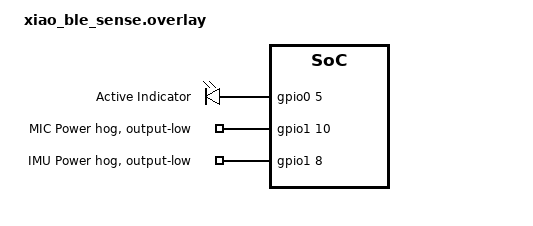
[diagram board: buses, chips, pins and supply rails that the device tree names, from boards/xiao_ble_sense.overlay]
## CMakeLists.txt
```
# SPDX-License-Identifier: MIT
cmake_minimum_required(VERSION 3.20)
find_package(Zephyr REQUIRED HINTS $ENV{ZEPHYR_BASE})
project(xiao_power_tests)
target_sources(app PRIVATE src/main.c)
```

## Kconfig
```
mainmenu "XIAO Power Baseline Test"

source "Kconfig.zephyr"

config APP_SYSTEM_OFF
	bool "Enter System OFF instead of System ON idle"
	default n
	select POWEROFF
	help
	  If enabled, the application calls sys_poweroff() after the boot
	  marker pulse instead of k_sleep(K_FOREVER).  System OFF turns
	  off CPU, RAM (except retained), all peripherals and all clocks.
	  Whatever current remains is purely hardware (LEDs, BQ25101,
	  external pull-ups, board leakage).
```

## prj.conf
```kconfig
# ── Minimal baseline: NO BT, NO sensors, NO logging ────────────────────────
# Goal: lowest possible idle current on XIAO nRF52840 (Sense).
#
# The application calls k_sleep(K_FOREVER); the kernel idle thread then
# enters WFI.  TICKLESS_KERNEL stops SysTick during sleep.
CONFIG_GPIO=y
CONFIG_TICKLESS_KERNEL=y
CONFIG_MAIN_STACK_SIZE=1024
CONFIG_IDLE_STACK_SIZE=512
```

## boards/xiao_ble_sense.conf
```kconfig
# Seeed XIAO nRF52840 Sense — power baseline
#
# ── Mandatory on XIAO: no external 32.768 kHz crystal ──────────────────────
CONFIG_CLOCK_CONTROL_NRF_K32SRC_RC=y

# ── Disable everything that holds HFCLK ─────────────────────────────────────
# USB_DEVICE_STACK : ~1.1 mA   (SOF IRQ every 1 ms, keeps HFXO alive)
# SERIAL/UARTE0    : ~1.0 mA   (UARTE0 keeps HFINT running once initialised)
# CONSOLE/LOG      : pulls in serial backends
CONFIG_USB_DEVICE_STACK=n
CONFIG_USB_CDC_ACM=n
CONFIG_SERIAL=n
CONFIG_CONSOLE=n
CONFIG_UART_CONSOLE=n
CONFIG_LOG=n

# ── Disable sensor drivers pulled in by board defconfig ─────────────────────
# Board defconfig enables LSM6DSL on i2c0; we disabled i2c0 in the overlay,
# so the driver fails to find its bus.  Disable it explicitly.
CONFIG_SENSOR=n
CONFIG_LSM6DSL=n

# ── NFCT off (frees P0.09/P0.10, saves ~600 µA) ────────────────────────────
# Without this, the nRF52840 NFCT peripheral is active by default (UICR.NFCPINS
# = NFC).  It draws ~600 µA continuously even when no NFC field is present.
# Setting CONFIG_NFCT_PINS_AS_GPIOS=y patches UICR on first boot.
# IMPORTANT: After flashing the first time, perform a full power cycle
# (unplug USB AND battery) for the UICR write to take effect.
CONFIG_NFCT_PINS_AS_GPIOS=y
```

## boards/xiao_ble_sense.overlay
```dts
/* SPDX-License-Identifier: MIT */
/*
 * XIAO nRF52840 Sense — power baseline overlay
 *
 * Strategy: disable every onboard peripheral that the bare board's defconfig
 * leaves enabled, and explicitly power-gate every active-high VCC line so we
 * see only the SoC + LDO + LEDs + the BQ25101 charger quiescent current.
 *
 * Toggle individual nodes / hogs to characterise each peripheral's
 * contribution to the idle floor.
 */

/ {
	/* D5 (P0.05) — boot-done marker on the PPK2 logic channel. */
	active_ind: active_indicator {
		compatible = "gpio-leds";
		active0: active_0 {
			gpios = <&gpio0 5 GPIO_ACTIVE_HIGH>;
			label = "Active Indicator";
		};
	};

	aliases {
		active-indicator = &active0;
	};
};

/* ── Disable I2C buses (frees SDA/SCL pull-ups too) ────────────────────── */
&i2c0 { status = "disabled"; };
&i2c1 { status = "disabled"; };

/* ── Disable QSPI peripheral ────────────────────────────────────────────────────
 * The Zephyr nordic_qspi-nor driver is NOT used.  Deep Power-Down (0xB9)
 * is sent manually via GPIO bit-bang in main.c before sys_poweroff().
 * NOTE: P0.25 = QSPI_CSN (active-LOW chip-select) — do NOT hog it LOW!
 * Hogging P0.25 LOW permanently asserts chip-select → ~600 µA drain.
 */
&qspi { status = "disabled"; };

/* ── Disable PWM (board defconfig leaves PWM0 enabled for LED driver) ──── */
&pwm0 { status = "disabled"; };

/* ── Disable SPI ──────────────────────────────────────────────────────── */
&spi2 { status = "disabled"; };

/* ── Disable everything else from board common DTSI ─────────────────────
 * uart0 (UARTE0): without driver no init, but be defensive.
 * usbd          : USB peripheral; default-on in board DTSI.
 * ieee802154    : 802.15.4 radio (shares RADIO with BLE).
 * adc           : SAADC peripheral.
 */
&uart0      { status = "disabled"; };
&usbd       { status = "disabled"; };
&ieee802154 { status = "disabled"; };
&adc        { status = "disabled"; };

/* ── Disable NFCT peripheral node (saves the IRQ allocation; the actual
 *    pin switch is done via CONFIG_NFCT_PINS_AS_GPIOS → UICR.NFCPINS).
 */
&nfct       { status = "disabled"; };

/* ── IMU regulator: disable entirely; hog the enable pin below instead ──
 * The board DTSI defines `lsm6ds3tr-c-en` as `regulator-fixed-sync` (an
 * NCS extension).  The standard `regulator-fixed` driver may not bind to
 * the -sync compatible, in which case P1.08 is left unconfigured at
 * reset (input with internal pull-up disabled) — and the IMU VCC pin
 * floats high enough through its own pull-up to keep the chip partially
 * powered.  A direct GPIO hog is unambiguous.
 */
&{/lsm6ds3tr-c-en} {
	status = "disabled";
};

/* ── Power-gates ─────────────────────────────────────────────────────────
 * Drive VCC-enable lines LOW with GPIO hogs at boot.
 * P0.25 is QSPI_CSN (active-LOW chip-select) — do NOT hog it!
 * Hogging P0.25 LOW would permanently assert chip-select on the P25Q16H
 * and cause ~600 µA drain.  Flash Deep Power-Down (0xB9) is sent via
 * GPIO bit-bang in main.c before sys_poweroff().
 *   P1.10 — MIC PDM VCC (MSM261D3526H1)
 *   P1.08 — LSM6DS3TR-C IMU VCC
 */

&gpio1 {
	pwr-mic {
		gpio-hog;
		gpios = <10 GPIO_ACTIVE_HIGH>;
		output-low;
		line-name = "MIC Power";
	};
	pwr-imu {
		gpio-hog;
		gpios = <8 GPIO_ACTIVE_HIGH>;
		output-low;
		line-name = "IMU Power";
	};
};
```

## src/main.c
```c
/* SPDX-License-Identifier: MIT */
/*
 * XIAO nRF52840 (Sense) — Power Baseline Test
 * ============================================
 * Does nothing.  Boots, drops the BLE Tx indicator LOW, and parks the CPU
 * in k_sleep(K_FOREVER).  The Zephyr idle thread issues WFI; with all
 * peripherals disabled in the overlay this should reach the lowest System
 * ON / CPU asleep floor the board can deliver (~3 µA on a bare nRF52840).
 *
 * Used to isolate the effect of individual XIAO Sense peripherals (mic,
 * IMU, QSPI flash, BQ25101 charger) by toggling overlay and Kconfig
 * options one at a time and re-measuring with the PPK2.
 *
 * D5 (P0.05) is driven HIGH during boot, LOW before WFI — serves as a
 * boot-done marker for the PPK2 logic analyser channel.
 */

#include <zephyr/kernel.h>
#include <zephyr/drivers/gpio.h>
#ifdef CONFIG_APP_SYSTEM_OFF
#include <zephyr/sys/poweroff.h>
#include <hal/nrf_gpio.h>

/* ── P25Q16H QSPI pin assignments on XIAO BLE Sense (from xiao_ble-pinctrl.dtsi) ──
 *   P0.20 = QSPI_IO0 (MOSI in SPI mode)
 *   P0.21 = QSPI_SCK
 *   P0.25 = QSPI_CSN (active-LOW)
 * Flash uses SPI mode 0 (CPOL=0, CPHA=0), MSB first.
 */
#define FLASH_PIN_MOSI  20u
#define FLASH_PIN_SCK   21u
#define FLASH_PIN_CSN   25u
#define FLASH_CMD_DPD   0xB9u   /* Deep Power-Down */

static void flash_deep_power_down(void)
{
	/* Configure SPI pins as outputs */
	nrf_gpio_cfg_output(FLASH_PIN_CSN);
	nrf_gpio_cfg_output(FLASH_PIN_SCK);
	nrf_gpio_cfg_output(FLASH_PIN_MOSI);

	/* Idle state: CSN high, SCK low */
	nrf_gpio_pin_set(FLASH_PIN_CSN);
	nrf_gpio_pin_clear(FLASH_PIN_SCK);
	nrf_gpio_pin_clear(FLASH_PIN_MOSI);

	/* Assert chip-select */
	nrf_gpio_pin_clear(FLASH_PIN_CSN);

	/* Clock out 0xB9 MSB-first, SPI mode 0 */
	for (int i = 7; i >= 0; i--) {
		nrf_gpio_pin_write(FLASH_PIN_MOSI, (FLASH_CMD_DPD >> i) & 1u);
		nrf_gpio_pin_set(FLASH_PIN_SCK);   /* rising edge — data sampled */
		nrf_gpio_pin_clear(FLASH_PIN_SCK); /* falling edge */
	}

	/* Deassert chip-select → DPD command complete */
	nrf_gpio_pin_set(FLASH_PIN_CSN);

	/* t_enter_dpd = 3 µs (P25Q16H datasheet) */
	k_busy_wait(10u);
}
#endif

#if DT_NODE_HAS_STATUS(DT_ALIAS(active_indicator), okay)
static const struct gpio_dt_spec led_tx =
	GPIO_DT_SPEC_GET(DT_ALIAS(active_indicator), gpios);
#define HAS_LED_TX 1
#else
#define HAS_LED_TX 0
#endif

int main(void)
{
#if HAS_LED_TX
	if (gpio_is_ready_dt(&led_tx)) {
		gpio_pin_configure_dt(&led_tx, GPIO_OUTPUT_ACTIVE);
		k_sleep(K_MSEC(50));
		gpio_pin_set_dt(&led_tx, 0);
	}
#endif

#ifdef CONFIG_APP_SYSTEM_OFF
	/* Send P25Q16H QSPI flash to Deep Power-Down via direct SPI bit-bang.
	 * The Zephyr nordic_qspi-nor driver is disabled (qspi: disabled in DT)
	 * to avoid HFCLK drain from driver init.  We replicate what the Arduino
	 * Adafruit_SPIFlash library does: send opcode 0xB9 directly, then call
	 * NRF_POWER->SYSTEMOFF.
	 */
	flash_deep_power_down();

	/* Hardware-only floor: kill CPU, RAM (except retained), all peripherals.
	 * Anything still drawing current after this is *physical* (LEDs, BQ25101,
	 * external pull-ups, board leakage).  Wake-up only via reset pin.
	 */
	sys_poweroff();
#else
	k_sleep(K_FOREVER);
#endif
	return 0;
}
```
